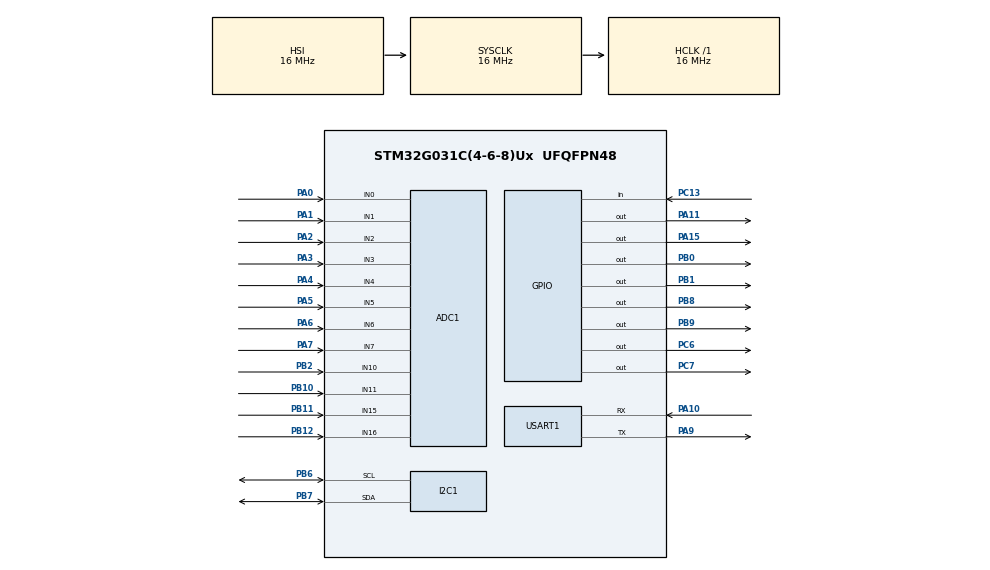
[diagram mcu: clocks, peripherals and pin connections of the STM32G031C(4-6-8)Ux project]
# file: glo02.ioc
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ADC1.ClockPrescaler=ADC_CLOCK_SYNC_PCLK_DIV4
ADC1.ContinuousConvMode=DISABLE
ADC1.DMAContinuousRequests=DISABLE
ADC1.EOCSelection=ADC_EOC_SINGLE_CONV
ADC1.ExternalTrigConv=ADC_SOFTWARE_START
ADC1.NbrOfConversion=1
ADC1.NbrOfConversionFlag=0
ADC1.SamplingTimeCommon1=ADC_SAMPLETIME_12CYCLES_5
ADC1.SelectedChannel=ADC_CHANNEL_0|ADC_CHANNEL_1|ADC_CHANNEL_2|ADC_CHANNEL_3|ADC_CHANNEL_4|ADC_CHANNEL_5|ADC_CHANNEL_6|ADC_CHANNEL_7|ADC_CHANNEL_10|ADC_CHANNEL_11|ADC_CHANNEL_15|ADC_CHANNEL_16
ADC1.Sequencer=NOT_FULLY_CONFIGURABLE
ADC1.TriggerFrequencyMode=ADC_TRIGGER_FREQ_HIGH
ADC1.master=1
Dma.ADC1.0.Direction=DMA_PERIPH_TO_MEMORY
Dma.ADC1.0.EventEnable=DISABLE
Dma.ADC1.0.Instance=DMA1_Channel1
Dma.ADC1.0.MemDataAlignment=DMA_MDATAALIGN_HALFWORD
Dma.ADC1.0.MemInc=DMA_MINC_ENABLE
Dma.ADC1.0.Mode=DMA_NORMAL
Dma.ADC1.0.PeriphDataAlignment=DMA_PDATAALIGN_HALFWORD
Dma.ADC1.0.PeriphInc=DMA_PINC_DISABLE
Dma.ADC1.0.Polarity=HAL_DMAMUX_REQ_GEN_RISING
Dma.ADC1.0.Priority=DMA_PRIORITY_LOW
Dma.ADC1.0.RequestNumber=1
Dma.ADC1.0.SignalID=NONE
Dma.ADC1.0.SyncEnable=DISABLE
Dma.ADC1.0.SyncPolarity=HAL_DMAMUX_SYNC_NO_EVENT
Dma.ADC1.0.SyncRequestNumber=1
Dma.ADC1.0.SyncSignalID=NONE
Dma.Request0=ADC1
Mcu.Family=STM32G0
Mcu.Name=STM32G031C(4-6-8)Ux
Mcu.Package=UFQFPN48
NVIC.DMA1_Channel1_IRQn=true\:0\:0\:false\:false\:true\:false\:true\:true
NVIC.USART1_IRQn=true\:0\:0\:false\:false\:true\:true\:true\:true
PA0.Mode=IN0
PA0.Signal=ADC1_IN0
PA1.Mode=IN1
PA1.Signal=ADC1_IN1
PA10.Mode=Asynchronous
PA10.Signal=USART1_RX
PA11\ [PA9].Signal=GPIO_Output
PA13.Mode=Serial_Wire
PA13.Signal=SYS_SWDIO
PA14-BOOT0.Mode=Serial_Wire
PA14-BOOT0.Signal=SYS_SWCLK
PA15.Signal=GPIO_Output
PA2.Mode=IN2
PA2.Signal=ADC1_IN2
PA3.Mode=IN3
PA3.Signal=ADC1_IN3
PA4.Mode=IN4
PA4.Signal=ADC1_IN4
PA5.Mode=IN5
PA5.Signal=ADC1_IN5
PA6.Mode=IN6
PA6.Signal=ADC1_IN6
PA7.Mode=IN7
PA7.Signal=ADC1_IN7
PA9.Mode=Asynchronous
PA9.Signal=USART1_TX
PB0.Signal=GPIO_Output
PB1.Signal=GPIO_Output
PB10.Mode=IN11
PB10.Signal=ADC1_IN11
PB11.Mode=IN15
PB11.Signal=ADC1_IN15
PB12.Mode=IN16
PB12.Signal=ADC1_IN16
PB2.Mode=IN10
PB2.Signal=ADC1_IN10
PB6.Mode=I2C
PB6.Signal=I2C1_SCL
PB7.Mode=I2C
PB7.Signal=I2C1_SDA
PB8.Signal=GPIO_Output
PB9.Signal=GPIO_Output
PC13.Signal=GPIO_Input
PC15-OSC32_OUT\ (PC15).Signal=RCC_OSC_EN
PC6.Signal=GPIO_Output
PC7.Signal=GPIO_Output
PF0-OSC_IN\ (PF0).Signal=RCC_OSC_IN
ProjectManager.HeapSize=0x200
ProjectManager.StackSize=0x400
ProjectManager.TargetToolchain=STM32CubeIDE
RCC.ADCFreq_Value=16000000
RCC.AHBFreq_Value=16000000
RCC.CortexFreq_Value=16000000
RCC.EXTERNAL_CLOCK_VALUE=12288000
RCC.HCLKFreq_Value=16000000
RCC.HSE_VALUE=8000000
RCC.HSI_VALUE=16000000
RCC.LSE_VALUE=32768
RCC.SYSCLKFreq_VALUE=16000000
RCC.VCOOutputFreq_Value=128000000
USART1.VirtualMode-Asynchronous=VM_ASYNC
board=custom

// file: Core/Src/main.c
/* USER CODE BEGIN Header */
/**
  ******************************************************************************
  * @file           : main.c
  * @brief          : Main program body
  ******************************************************************************
  * @attention
  *
  * Copyright (c) 2021 STMicroelectronics.
  * All rights reserved.
  *
  * This software is licensed under terms that can be found in the LICENSE file
  * in the root directory of this software component.
  * If no LICENSE file comes with this software, it is provided AS-IS.
  *
  ******************************************************************************
  */
/* USER CODE END Header */
#include "main.h"

/* USER CODE BEGIN Includes */
// Variable and array initialization for ADC_____________________________________
int counter1 = 0;
int button01 = 0;
uint16_t adc_value[20];
/* USER CODE END Includes */

 ADC_HandleTypeDef hadc1;
DMA_HandleTypeDef hdma_adc1;

I2C_HandleTypeDef hi2c1;

UART_HandleTypeDef huart1;

void SystemClock_Config(void);
static void MX_GPIO_Init(void);
static void MX_DMA_Init(void);
static void MX_ADC1_Init(void);
static void MX_USART1_UART_Init(void);
static void MX_I2C1_Init(void);

int main(void)
{

  /* MCU Configuration--------------------------------------------------------*/

  /* Reset of all peripherals, Initializes the Flash interface and the Systick. */
  HAL_Init();

  /* Configure the system clock */
  SystemClock_Config();

  /* Initialize all configured peripherals */
  MX_GPIO_Init();
  MX_DMA_Init();
  MX_ADC1_Init();
  MX_USART1_UART_Init();
  MX_I2C1_Init();
  /* USER CODE BEGIN 2 */

  // LEDs (before the cycle I pull two to blink in a checkerboard pattern)__________
  HAL_GPIO_TogglePin(GPIOB,GPIO_PIN_0);
  //HAL_GPIO_TogglePin(GPIOB,GPIO_PIN_1);
  HAL_GPIO_TogglePin(GPIOC,GPIO_PIN_6);
  //HAL_GPIO_TogglePin(GPIOC,GPIO_PIN_7);

  /*HAL_GPIO_TogglePin(GPIOB,GPIO_PIN_8);*/

  /* USER CODE END 2 */

  /* Infinite loop */
  /* USER CODE BEGIN WHILE */

  // Initialization of the string to be output to the UART____________________________
  uint8_t str1[] = "1234567890123456789\r\n\0";
  uint8_t str2[] = "1234567890123456789\r\n\0";

//start of an infinite loop
  while (1)
  {
    //cycle counter__________________________________________________________________
      if (counter1 > 19) {
		counter1 = 0;
	};

	//poll button____________________________________________________________________
	  button01 = HAL_GPIO_ReadPin(GPIOC,GPIO_PIN_13);

	//blinking LEDs__________________________________________________________________
	  HAL_GPIO_TogglePin(GPIOC,GPIO_PIN_6);
	  HAL_GPIO_TogglePin(GPIOC,GPIO_PIN_7);
	  HAL_GPIO_TogglePin(GPIOB,GPIO_PIN_0);
	  HAL_GPIO_TogglePin(GPIOB,GPIO_PIN_1);

	//read ADC from DMA buffer to adc_value array (20 values)_________________________
	  HAL_ADC_Start_DMA(&hadc1,adc_value,20);
	  HAL_Delay(190);
	//Adding variable adc_value[9] to string (before outputting string to UART port)__
	  sprintf(str1, "= %d     ", adc_value[counter1]);
	  sprintf(str2, "\r\nadc_value[%d]    ", counter1);
	//String output to UART, 18 characters output from the string)____________________
	  HAL_UART_Transmit_IT(&huart1, str2, 16);
	  HAL_Delay(10);
	  HAL_UART_Transmit_IT(&huart1, str1, 7);
	//Delay in seconds before repeating the cycle_____________________________________
	  	      HAL_Delay(300);

	  	      counter1 += 1;

    /* USER CODE END WHILE */

  }
}

void SystemClock_Config(void)
{
  RCC_OscInitTypeDef RCC_OscInitStruct = {0};
  RCC_ClkInitTypeDef RCC_ClkInitStruct = {0};

  /** Configure the main internal regulator output voltage
  */
  HAL_PWREx_ControlVoltageScaling(PWR_REGULATOR_VOLTAGE_SCALE1);

  /** Initializes the RCC Oscillators according to the specified parameters
  * in the RCC_OscInitTypeDef structure.
  */
  RCC_OscInitStruct.OscillatorType = RCC_OSCILLATORTYPE_HSI;
  RCC_OscInitStruct.HSIState = RCC_HSI_ON;
  RCC_OscInitStruct.HSIDiv = RCC_HSI_DIV1;
  RCC_OscInitStruct.HSICalibrationValue = RCC_HSICALIBRATION_DEFAULT;
  RCC_OscInitStruct.PLL.PLLState = RCC_PLL_NONE;
  if (HAL_RCC_OscConfig(&RCC_OscInitStruct) != HAL_OK)
  {
    Error_Handler();
  }

  /** Initializes the CPU, AHB and APB buses clocks
  */
  RCC_ClkInitStruct.ClockType = RCC_CLOCKTYPE_HCLK|RCC_CLOCKTYPE_SYSCLK
                              |RCC_CLOCKTYPE_PCLK1;
  RCC_ClkInitStruct.SYSCLKSource = RCC_SYSCLKSOURCE_HSI;
  RCC_ClkInitStruct.AHBCLKDivider = RCC_SYSCLK_DIV1;
  RCC_ClkInitStruct.APB1CLKDivider = RCC_HCLK_DIV1;

  if (HAL_RCC_ClockConfig(&RCC_ClkInitStruct, FLASH_LATENCY_0) != HAL_OK)
  {
    Error_Handler();
  }
}

static void MX_ADC1_Init(void)
{

  ADC_ChannelConfTypeDef sConfig = {0};

  /** Configure the global features of the ADC (Clock, Resolution, Data Alignment and number of conversion)
  */
  hadc1.Instance = ADC1;
  hadc1.Init.ClockPrescaler = ADC_CLOCK_SYNC_PCLK_DIV4;
  hadc1.Init.Resolution = ADC_RESOLUTION_12B;
  hadc1.Init.DataAlign = ADC_DATAALIGN_RIGHT;
  hadc1.Init.ScanConvMode = ADC_SCAN_SEQ_FIXED;
  hadc1.Init.EOCSelection = ADC_EOC_SINGLE_CONV;
  hadc1.Init.LowPowerAutoWait = DISABLE;
  hadc1.Init.LowPowerAutoPowerOff = DISABLE;
  hadc1.Init.ContinuousConvMode = DISABLE;
  hadc1.Init.NbrOfConversion = 1;
  hadc1.Init.ExternalTrigConv = ADC_SOFTWARE_START;
  hadc1.Init.ExternalTrigConvEdge = ADC_EXTERNALTRIGCONVEDGE_NONE;
  hadc1.Init.DMAContinuousRequests = DISABLE;
  hadc1.Init.Overrun = ADC_OVR_DATA_PRESERVED;
  hadc1.Init.SamplingTimeCommon1 = ADC_SAMPLETIME_12CYCLES_5;
  hadc1.Init.OversamplingMode = DISABLE;
  hadc1.Init.TriggerFrequencyMode = ADC_TRIGGER_FREQ_HIGH;
  if (HAL_ADC_Init(&hadc1) != HAL_OK)
  {
    Error_Handler();
  }

  /** Configure Regular Channel
  */
  sConfig.Channel = ADC_CHANNEL_0;
  sConfig.Rank = ADC_RANK_CHANNEL_NUMBER;
  if (HAL_ADC_ConfigChannel(&hadc1, &sConfig) != HAL_OK)
  {
    Error_Handler();
  }

  /** Configure Regular Channel
  */
  sConfig.Channel = ADC_CHANNEL_1;
  if (HAL_ADC_ConfigChannel(&hadc1, &sConfig) != HAL_OK)
  {
    Error_Handler();
  }

  /** Configure Regular Channel
  */
  sConfig.Channel = ADC_CHANNEL_2;
  if (HAL_ADC_ConfigChannel(&hadc1, &sConfig) != HAL_OK)
  {
    Error_Handler();
  }

  /** Configure Regular Channel
  */
  sConfig.Channel = ADC_CHANNEL_3;
  if (HAL_ADC_ConfigChannel(&hadc1, &sConfig) != HAL_OK)
  {
    Error_Handler();
  }

  /** Configure Regular Channel
  */
  sConfig.Channel = ADC_CHANNEL_4;
  if (HAL_ADC_ConfigChannel(&hadc1, &sConfig) != HAL_OK)
  {
    Error_Handler();
  }

  /** Configure Regular Channel
  */
  sConfig.Channel = ADC_CHANNEL_5;
  if (HAL_ADC_ConfigChannel(&hadc1, &sConfig) != HAL_OK)
  {
    Error_Handler();
  }

  /** Configure Regular Channel
  */
  sConfig.Channel = ADC_CHANNEL_6;
  if (HAL_ADC_ConfigChannel(&hadc1, &sConfig) != HAL_OK)
  {
    Error_Handler();
  }

  /** Configure Regular Channel
  */
  sConfig.Channel = ADC_CHANNEL_7;
  if (HAL_ADC_ConfigChannel(&hadc1, &sConfig) != HAL_OK)
  {
    Error_Handler();
  }

  /** Configure Regular Channel
  */
  sConfig.Channel = ADC_CHANNEL_10;
  if (HAL_ADC_ConfigChannel(&hadc1, &sConfig) != HAL_OK)
  {
    Error_Handler();
  }

  /** Configure Regular Channel
  */
  sConfig.Channel = ADC_CHANNEL_11;
  if (HAL_ADC_ConfigChannel(&hadc1, &sConfig) != HAL_OK)
  {
    Error_Handler();
  }

  /** Configure Regular Channel
  */
  sConfig.Channel = ADC_CHANNEL_15;
  if (HAL_ADC_ConfigChannel(&hadc1, &sConfig) != HAL_OK)
  {
    Error_Handler();
  }

  /** Configure Regular Channel
  */
  sConfig.Channel = ADC_CHANNEL_16;
  if (HAL_ADC_ConfigChannel(&hadc1, &sConfig) != HAL_OK)
  {
    Error_Handler();
  }

}

static void MX_I2C1_Init(void)
{

  hi2c1.Instance = I2C1;
  hi2c1.Init.Timing = 0x00303D5B;
  hi2c1.Init.OwnAddress1 = 0;
  hi2c1.Init.AddressingMode = I2C_ADDRESSINGMODE_7BIT;
  hi2c1.Init.DualAddressMode = I2C_DUALADDRESS_DISABLE;
  hi2c1.Init.OwnAddress2 = 0;
  hi2c1.Init.OwnAddress2Masks = I2C_OA2_NOMASK;
  hi2c1.Init.GeneralCallMode = I2C_GENERALCALL_DISABLE;
  hi2c1.Init.NoStretchMode = I2C_NOSTRETCH_DISABLE;
  if (HAL_I2C_Init(&hi2c1) != HAL_OK)
  {
    Error_Handler();
  }

  /** Configure Analogue filter
  */
  if (HAL_I2CEx_ConfigAnalogFilter(&hi2c1, I2C_ANALOGFILTER_ENABLE) != HAL_OK)
  {
    Error_Handler();
  }

  /** Configure Digital filter
  */
  if (HAL_I2CEx_ConfigDigitalFilter(&hi2c1, 0) != HAL_OK)
  {
    Error_Handler();
  }

}

static void MX_USART1_UART_Init(void)
{

  huart1.Instance = USART1;
  huart1.Init.BaudRate = 115200;
  huart1.Init.WordLength = UART_WORDLENGTH_8B;
  huart1.Init.StopBits = UART_STOPBITS_1;
  huart1.Init.Parity = UART_PARITY_NONE;
  huart1.Init.Mode = UART_MODE_TX_RX;
  huart1.Init.HwFlowCtl = UART_HWCONTROL_NONE;
  huart1.Init.OverSampling = UART_OVERSAMPLING_16;
  huart1.Init.OneBitSampling = UART_ONE_BIT_SAMPLE_DISABLE;
  huart1.Init.ClockPrescaler = UART_PRESCALER_DIV1;
  huart1.AdvancedInit.AdvFeatureInit = UART_ADVFEATURE_NO_INIT;
  if (HAL_UART_Init(&huart1) != HAL_OK)
  {
    Error_Handler();
  }
  if (HAL_UARTEx_SetTxFifoThreshold(&huart1, UART_TXFIFO_THRESHOLD_1_8) != HAL_OK)
  {
    Error_Handler();
  }
  if (HAL_UARTEx_SetRxFifoThreshold(&huart1, UART_RXFIFO_THRESHOLD_1_8) != HAL_OK)
  {
    Error_Handler();
  }
  if (HAL_UARTEx_DisableFifoMode(&huart1) != HAL_OK)
  {
    Error_Handler();
  }

}

static void MX_DMA_Init(void)
{

  /* DMA controller clock enable */
  __HAL_RCC_DMA1_CLK_ENABLE();

  /* DMA interrupt init */
  /* DMA1_Channel1_IRQn interrupt configuration */
  HAL_NVIC_SetPriority(DMA1_Channel1_IRQn, 0, 0);
  HAL_NVIC_EnableIRQ(DMA1_Channel1_IRQn);

}

static void MX_GPIO_Init(void)
{
  GPIO_InitTypeDef GPIO_InitStruct = {0};

  /* GPIO Ports Clock Enable */
  __HAL_RCC_GPIOC_CLK_ENABLE();
  __HAL_RCC_GPIOF_CLK_ENABLE();
  __HAL_RCC_GPIOA_CLK_ENABLE();
  __HAL_RCC_GPIOB_CLK_ENABLE();

  /*Configure GPIO pin Output Level */
  HAL_GPIO_WritePin(GPIOB, GPIO_PIN_0|GPIO_PIN_1|GPIO_PIN_8|GPIO_PIN_9, GPIO_PIN_RESET);

  /*Configure GPIO pin Output Level */
  HAL_GPIO_WritePin(GPIOC, GPIO_PIN_6|GPIO_PIN_7, GPIO_PIN_RESET);

  /*Configure GPIO pin Output Level */
  HAL_GPIO_WritePin(GPIOA, GPIO_PIN_11|GPIO_PIN_15, GPIO_PIN_RESET);

  /*Configure GPIO pin : PC13 */
  GPIO_InitStruct.Pin = GPIO_PIN_13;
  GPIO_InitStruct.Mode = GPIO_MODE_INPUT;
  GPIO_InitStruct.Pull = GPIO_NOPULL;
  HAL_GPIO_Init(GPIOC, &GPIO_InitStruct);

  /*Configure GPIO pin : PC15 */
  GPIO_InitStruct.Pin = GPIO_PIN_15;
  GPIO_InitStruct.Mode = GPIO_MODE_AF_PP;
  GPIO_InitStruct.Pull = GPIO_NOPULL;
  GPIO_InitStruct.Speed = GPIO_SPEED_FREQ_LOW;
  GPIO_InitStruct.Alternate = GPIO_AF1_OSC;
  HAL_GPIO_Init(GPIOC, &GPIO_InitStruct);

  /*Configure GPIO pins : PB0 PB1 PB8 PB9 */
  GPIO_InitStruct.Pin = GPIO_PIN_0|GPIO_PIN_1|GPIO_PIN_8|GPIO_PIN_9;
  GPIO_InitStruct.Mode = GPIO_MODE_OUTPUT_PP;
  GPIO_InitStruct.Pull = GPIO_NOPULL;
  GPIO_InitStruct.Speed = GPIO_SPEED_FREQ_LOW;
  HAL_GPIO_Init(GPIOB, &GPIO_InitStruct);

  /*Configure GPIO pins : PC6 PC7 */
  GPIO_InitStruct.Pin = GPIO_PIN_6|GPIO_PIN_7;
  GPIO_InitStruct.Mode = GPIO_MODE_OUTPUT_PP;
  GPIO_InitStruct.Pull = GPIO_NOPULL;
  GPIO_InitStruct.Speed = GPIO_SPEED_FREQ_LOW;
  HAL_GPIO_Init(GPIOC, &GPIO_InitStruct);

  /*Configure GPIO pins : PA11 PA15 */
  GPIO_InitStruct.Pin = GPIO_PIN_11|GPIO_PIN_15;
  GPIO_InitStruct.Mode = GPIO_MODE_OUTPUT_PP;
  GPIO_InitStruct.Pull = GPIO_NOPULL;
  GPIO_InitStruct.Speed = GPIO_SPEED_FREQ_LOW;
  HAL_GPIO_Init(GPIOA, &GPIO_InitStruct);

}

void Error_Handler(void)
{
  __disable_irq();
  while (1)
  {
  }
}
